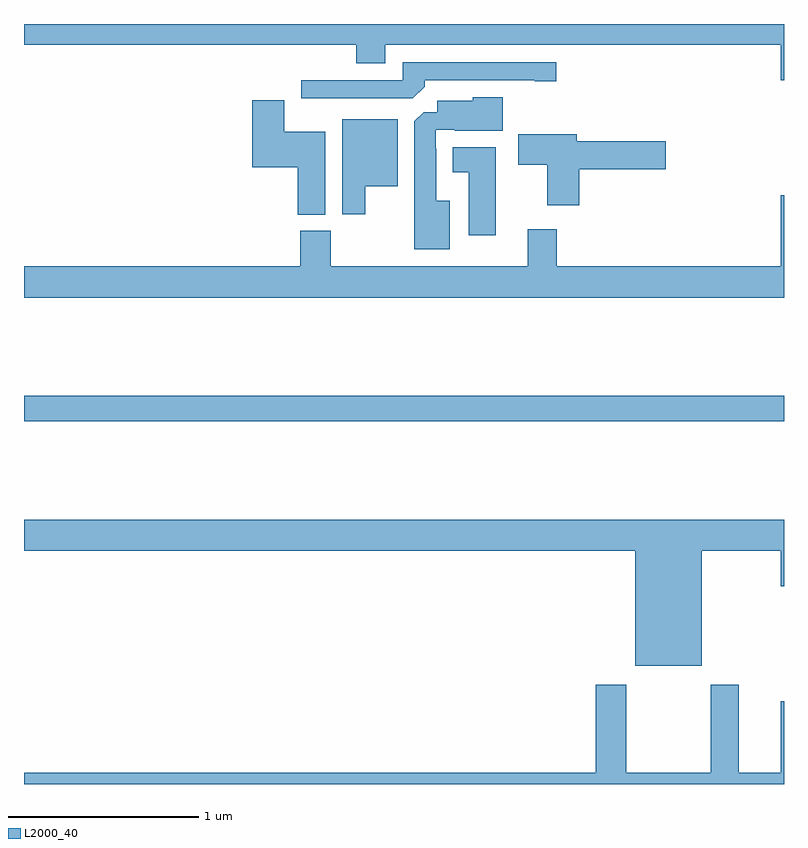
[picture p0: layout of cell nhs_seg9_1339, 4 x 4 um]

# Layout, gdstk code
import gdstk
lib = gdstk.Library(unit=1e-6, precision=1e-09)
def R(c, l, rs):  # rectangles x0, y0, x1, y1
    for r in rs: c.add(gdstk.rectangle(r[:2], r[2:], *l))
def P(c, l, *ps):  # polygons
    for p in ps: c.add(gdstk.Polygon(p, *l))
L2000_40 = (2000, 40)

nhs_seg9_1339 = lib.new_cell('nhs_seg9_1339')
R(nhs_seg9_1339, L2000_40, [(185,1222.408,189,1222.544)])
P(nhs_seg9_1339, L2000_40, [(189,1224.5),(185,1224.5),(185,1224.392),(186.749,1224.392),(186.749,1224.293),(186.901,1224.293),(186.901,1224.392),(188.984,1224.392),(188.984,1224.204),(189,1224.204)],
  [(187.109,1224.17),(187.109,1224.204),(187.688,1224.204),(187.688,1224.199),(187.801,1224.199),(187.801,1224.3),(186.993,1224.3),(186.993,1224.204),(186.459,1224.204),(186.459,1224.108),(187.047,1224.108)],
  [(187.24,1223.569),(187.171,1223.569),(187.171,1223.843),(187.167,1223.843),(187.167,1223.943),(187.267,1223.943),(187.267,1223.939),(187.519,1223.939),(187.519,1224.115),(187.362,1224.115),(187.362,1224.097),(187.175,1224.097),(187.175,1224.036),(187.104,1224.036),(187.055,1223.987),(187.055,1223.315),(187.24,1223.315)],
  [(186.586,1223.932),(186.37,1223.932),(186.37,1224.1),(186.2,1224.1),(186.2,1223.747),(186.44,1223.747),(186.44,1223.497),(186.586,1223.497)],
  [(186.796,1223.645),(186.967,1223.645),(186.967,1223.998),(186.674,1223.998),(186.674,1223.499),(186.796,1223.499)],
  [(187.922,1223.735),(188.377,1223.735),(188.377,1223.882),(187.909,1223.882),(187.909,1223.92),(187.602,1223.92),(187.602,1223.758),(187.754,1223.758),(187.754,1223.547),(187.922,1223.547)],
  [(187.483,1223.851),(187.256,1223.851),(187.256,1223.72),(187.34,1223.72),(187.34,1223.388),(187.483,1223.388)],
  [(189,1223.599),(188.984,1223.599),(188.984,1223.224),(187.805,1223.224),(187.805,1223.419),(187.652,1223.419),(187.652,1223.224),(186.615,1223.224),(186.615,1223.412),(186.455,1223.412),(186.455,1223.224),(185,1223.224),(185,1223.06),(189,1223.06)],
  [(188.566,1221.728),(188.984,1221.728),(188.984,1221.54),(189,1221.54),(189,1221.892),(185,1221.892),(185,1221.728),(188.216,1221.728),(188.216,1221.122),(188.566,1221.122)],
  [(189,1220.935),(188.984,1220.935),(188.984,1220.56),(188.761,1220.56),(188.761,1221.022),(188.614,1221.022),(188.614,1220.56),(188.169,1220.56),(188.169,1221.022),(188.009,1221.022),(188.009,1220.56),(185,1220.56),(185,1220.5),(189,1220.5)])

lib.write_gds('nhs_seg9_1339.gds')
